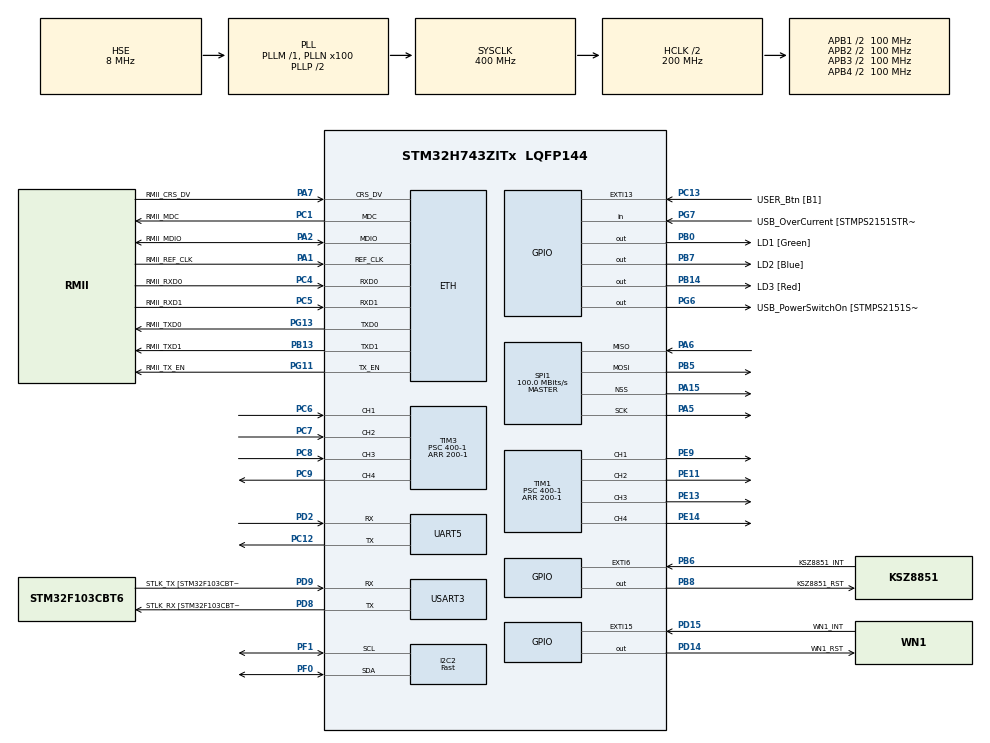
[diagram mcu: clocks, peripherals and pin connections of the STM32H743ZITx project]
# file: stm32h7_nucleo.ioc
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PA11.GPIO_Speed=GPIO_SPEED_FREQ_VERY_HIGH
SH.S_TIM1_CH4.0=TIM1_CH4,Output Compare4 CH4
SPI1.VirtualType=VM_MASTER
LWIP.LWIP_ARP=1
SH.ADCx_INP10.0=ADC1_INP10
PC12.Signal=UART5_TX
PB14.GPIO_Label=LD3 [Red]
PG6.GPIO_Label=USB_PowerSwitchOn [STMPS2151STR_EN]
CORTEX_M7.TypeExtField-Cortex_Memory_Protection_Unit_Region0_Settings=MPU_TEX_LEVEL1
VP_RTC_VS_RTC_Activate.Mode=RTC_Enabled
CORTEX_M7.AccessPermission-Cortex_Memory_Protection_Unit_Region2_Settings=MPU_REGION_FULL_ACCESS
TIM1.Pulse-Output\ Compare3\ CH3=200-1
PB6.GPIO_Label=KSZ8851_INT
PA15\ (JTDI).Signal=SPI1_NSS
PC5.Mode=RMII
PB13.Signal=ETH_TXD1
PG13.Signal=ETH_TXD0
RCC.SYSCLKSource=RCC_SYSCLKSOURCE_PLLCLK
LWIP.NETMASK_ADDRESS=255.255.255.000
USART3.VirtualMode-Asynchronous=VM_ASYNC
PA14\ (JTCK/SWCLK).Signal=DEBUG_JTCK-SWCLK
PA15\ (JTDI).Mode=NSS_Signal_Hard_Output
CORTEX_M7.Enable-Cortex_Memory_Protection_Unit_Region0_Settings=MPU_REGION_ENABLE
SPI1.Direction=SPI_DIRECTION_2LINES
I2C2.I2C_Speed_Mode=I2C_Fast
RCC.APB2TimFreq_Value=216000000
PB6.Signal=GPXTI6
PC7.Signal=S_TIM3_CH2
SPI1.CalculateBaudRate=100.0 MBits/s
PD8.Signal=USART3_TX
PE5.Signal=SPI4_MISO
FREERTOS.configMINIMAL_STACK_SIZE=128
RCC.DIVM3=1
RCC.DIVM2=1
RCC.DIVM1=1
PC2_C.GPIO_Speed=GPIO_SPEED_FREQ_VERY_HIGH
PC4.GPIO_Label=RMII_RXD0
PE9.Signal=S_TIM1_CH1
TIM1.Pulse-Output\ Compare4\ CH4=200-1
SPI1.DataSize=SPI_DATASIZE_8BIT
PB8.PinState=GPIO_PIN_SET
PE2.Signal=SPI4_SCK
PA8.Signal=USB_OTG_FS_SOF
PA14\ (JTCK/SWCLK).Mode=Serial_Wire
SPI1.VirtualNSS=VM_NSSHARD
VP_FREERTOS_VS_CMSIS_V1.Mode=CMSIS_V1
PF1.GPIO_Speed=GPIO_SPEED_FREQ_HIGH
VP_TIM1_VS_ClockSourceINT.Mode=Internal
Mcu.Package=LQFP144
PB9.Signal=SPI2_NSS
NVIC.TimeBase=TIM8_BRK_TIM12_IRQn
PD12.Signal=I2C4_SCL
NVIC.TimeBaseIP=TIM12
PA10.Signal=USB_OTG_FS_ID
VP_RTC_VS_RTC_Calendar.Mode=RTC_Calendar
PB5.GPIO_Speed=GPIO_SPEED_FREQ_VERY_HIGH
PC14-OSC32_IN\ (OSC32_IN).Mode=LSE-External-Oscillator
RCC.APB2CLKDivider=RCC_HCLK_DIV2
RCC.APB4Freq_Value=100000000
RCC.APB1TimFreq_Value=108000000
CORTEX_M7.Enable-Cortex_Memory_Protection_Unit_Region1_Settings=MPU_REGION_ENABLE
TIM1.Period=200-1
PB13.Mode=RMII
PA6.GPIO_Speed=GPIO_SPEED_FREQ_VERY_HIGH
PE6.GPIO_Speed=GPIO_SPEED_FREQ_VERY_HIGH
PH0-OSC_IN\ (PH0).Mode=HSE-External-Clock-Source
PA8.GPIO_Speed=GPIO_SPEED_FREQ_VERY_HIGH
PD15.Signal=GPXTI15
CORTEX_M7.IsBufferable-Cortex_Memory_Protection_Unit_Region0_Settings=MPU_ACCESS_NOT_BUFFERABLE
PC4.Mode=RMII
LWIP.IP_ADDRESS=192.168.025.238
PA5.Mode=Full_Duplex_Master
RCC.DIVQ1=4
FREERTOS.Tasks01=coreTask,3,512,coreTaskFunc,As weak,NULL,Dynamic,NULL,NULL;rosSpinTask,0,256,rosSpinTaskFunc,As weak,NULL,Dynamic,NULL,NULL
LWIP0.BSP.i2caddr=0
PD9.GPIO_Label=STLK_TX [STM32F103CBT6_PA2]
PC13.Signal=GPXTI13
PA9.GPIO_Label=USB_VBUS
CORTEX_M7.IsBufferable-Cortex_Memory_Protection_Unit_Region2_Settings=MPU_ACCESS_BUFFERABLE
PC6.Signal=S_TIM3_CH1
PA11.GPIO_Label=USB_DM
LWIP.LWIP_DHCP=0
PC0.Signal=ADCx_INP10
RCC.APB1CLKDivider=RCC_HCLK_DIV4
PG13.GPIO_Label=RMII_TXD0
RCC.PWR_Regulator_Voltage_Scale=PWR_REGULATOR_VOLTAGE_SCALE1
PF1.Mode=I2C
PB8.GPIO_Label=KSZ8851_RST
PA8.GPIO_Label=USB_SOF [TP1]
RTC.Year=19
LWIP.LWIP_NETIF_LINK_CALLBACK=0
PA9.Signal=USB_OTG_FS_VBUS
RCC.DIVN3=100
RCC.DIVN2=100
RCC.DIVN1=100
PB13.GPIO_Speed=GPIO_SPEED_FREQ_VERY_HIGH
CORTEX_M7.BaseAddress-Cortex_Memory_Protection_Unit_Region0_Settings=0x30040000
RTC.Format=RTC_FORMAT_BIN
TIM1.Channel-Output\ Compare4\ CH4=TIM_CHANNEL_4
PD8.Mode=Asynchronous
PB10.Signal=SPI2_SCK
PB14.Signal=GPIO_Output
RCC.USBCLockSelection=RCC_USBCLKSOURCE_HSI48
PA5.Signal=SPI1_SCK
CORTEX_M7.Enable-Cortex_Memory_Protection_Unit_Region2_Settings=MPU_REGION_ENABLE
PD14.PinState=GPIO_PIN_SET
PC12.Mode=Asynchronous
PA15\ (JTDI).GPIO_Speed=GPIO_SPEED_FREQ_VERY_HIGH
PA7.GPIO_Speed=GPIO_SPEED_FREQ_VERY_HIGH
PA1.Mode=RMII
PE14.Signal=S_TIM1_CH4
RCC.PRESCALERUSB=RCC_USBCLKSOURCE_PLL_DIV1_5
SPI1.Mode=SPI_MODE_MASTER
PG7.GPIO_Label=USB_OverCurrent [STMPS2151STR_FAULT]
PA1.GPIO_Label=RMII_REF_CLK
CORTEX_M7.AccessPermission-Cortex_Memory_Protection_Unit_Region0_Settings=MPU_REGION_FULL_ACCESS
TIM3.Channel-Output\ Compare4\ CH4=TIM_CHANNEL_4
NVIC.ETH_WKUP_IRQn=true\:5\:0\:false\:true\:true\:2\:true\:true\:true
TIM1.Pulse-Output\ Compare2\ CH2=200-1
PB5.Signal=SPI1_MOSI
ETH.MediaInterface=HAL_ETH_RMII_MODE
PG11.Mode=RMII
PA11.Signal=USB_OTG_FS_DM
ProjectManager.HeapSize=0x2000
LWIP.Version=v2.1.2_Cube
TIM1.Pulse-Output\ Compare1\ CH1=200-1
FREERTOS.Timers01=coreTaskTimer,coreTaskEvokeCb,osTimerPeriodic,As weak,NULL,Dynamic,NULL
PD8.GPIO_Speed=GPIO_SPEED_FREQ_HIGH
NVIC.PriorityGroup=NVIC_PRIORITYGROUP_4
PC5.GPIO_Speed=GPIO_SPEED_FREQ_VERY_HIGH
PD2.Signal=UART5_RX
PB0.Signal=GPIO_Output
PC1.Signal=ETH_MDC
PA13\ (JTMS/SWDIO).Signal=DEBUG_JTMS-SWDIO
PC1.Mode=RMII
VP_SYS_VS_tim12.Mode=TIM12
Mcu.Family=STM32H7
LWIP0.BSP.STBoard=false
PA6.Mode=Full_Duplex_Master
RCC.CortexFreq_Value=400000000
FREERTOS.BinarySemaphores01=coreTaskSem,Dynamic,NULL
PG6.Signal=GPIO_Output
PB10.GPIO_Speed=GPIO_SPEED_FREQ_VERY_HIGH
RCC.HPRE=RCC_HCLK_DIV2
PH0-OSC_IN\ (PH0).Signal=RCC_OSC_IN
PC15-OSC32_OUT\ (OSC32_OUT).Mode=LSE-External-Oscillator
RCC.SYSCLKSourceVirtual=RCC_SYSCLKSOURCE_PLLCLK
I2C2.Timing=0x009034B6
PA2.GPIO_Speed=GPIO_SPEED_FREQ_VERY_HIGH
PE2.GPIO_Speed=GPIO_SPEED_FREQ_VERY_HIGH
PD9.GPIO_Speed=GPIO_SPEED_FREQ_HIGH
PD2.GPIO_Speed=GPIO_SPEED_FREQ_HIGH
PB0.GPIO_Label=LD1 [Green]
PC13.GPIO_Label=USER_Btn [B1]
PB13.GPIO_Label=RMII_TXD1
PB15.Signal=SPI2_MOSI
PD9.Mode=Asynchronous
PG11.Signal=ETH_TX_EN
ProjectManager.StackSize=0x4000
PD13.Signal=I2C4_SDA
TIM1.Channel-Output\ Compare2\ CH2=TIM_CHANNEL_2
PA12.Signal=USB_OTG_FS_DP
TIM1.Prescaler=400-1
RCC.HCLKFreq_Value=200000000
TIM3.Period=200-1
PC2_C.Signal=SPI2_MISO
RCC.AHBFreq_Value=216000000
NVIC.ETH_IRQn=true\:5\:0\:false\:true\:true\:1\:true\:true\:true
RCC.HSE_VALUE=8000000
FREERTOS.configUSE_TIMERS=1
CORTEX_M7.Size-Cortex_Memory_Protection_Unit_Region2_Settings=MPU_REGION_SIZE_256B
RCC.PLLMUL=RCC_PLL_MUL9
PG11.GPIO_Speed=GPIO_SPEED_FREQ_VERY_HIGH
PC4.GPIO_Speed=GPIO_SPEED_FREQ_VERY_HIGH
PE13.Signal=S_TIM1_CH3
PE4.GPIO_Speed=GPIO_SPEED_FREQ_VERY_HIGH
TIM3.Prescaler=400-1
PB5.Mode=Full_Duplex_Master
PA10.GPIO_Label=USB_ID
PB7.Signal=GPIO_Output
PG13.Mode=RMII
LWIP.ETHARP_SUPPORT_STATIC_ENTRIES=0
SH.S_TIM3_CH1.0=TIM3_CH1,Xored_Inputs_Hall_Sensor_Interface
LWIP0.BSP.solution=LAN8742
PE4.Signal=SPI4_NSS
FREERTOS.configTIMER_TASK_PRIORITY=6
FREERTOS.configTOTAL_HEAP_SIZE=25600
RCC.APB3Freq_Value=100000000
PB7.GPIO_Label=LD2 [Blue]
LWIP0.BSP.component=LAN8742
PA6.Signal=SPI1_MISO
RCC.D1PPRE=RCC_APB3_DIV2
CORTEX_M7.BaseAddress-Cortex_Memory_Protection_Unit_Region1_Settings=0x30044000
PA2.GPIO_Label=RMII_MDIO
PD15.GPIO_PuPd=GPIO_PULLUP
CORTEX_M7.Size-Cortex_Memory_Protection_Unit_Region1_Settings=MPU_REGION_SIZE_16KB
PB9.GPIO_Speed=GPIO_SPEED_FREQ_VERY_HIGH
SH.ADCx_INP15.0=ADC1_INP15
PG11.GPIO_Label=RMII_TX_EN
PG13.GPIO_Speed=GPIO_SPEED_FREQ_VERY_HIGH
PF0.Signal=I2C2_SDA
PC5.Signal=ETH_RXD1
VP_TIM3_VS_ClockSourceINT.Mode=Internal
PA12.GPIO_Speed=GPIO_SPEED_FREQ_VERY_HIGH
TIM1.Channel-Output\ Compare3\ CH3=TIM_CHANNEL_3
PA3.Signal=ADCx_INP15
RCC.PLLSourceVirtual=RCC_PLLSOURCE_HSE
CORTEX_M7.CPU_ICache=Enabled
PD12.GPIO_Speed=GPIO_SPEED_FREQ_HIGH
PD15.GPIO_Label=WN1_INT
PA7.Mode=RMII
PG7.Signal=GPIO_Input
PA13\ (JTMS/SWDIO).Mode=Serial_Wire
PC8.Signal=S_TIM3_CH3
PC4.Signal=ETH_RXD0
RCC.D2PPRE2=RCC_APB2_DIV2
RCC.D2PPRE1=RCC_APB1_DIV2
PD9.Signal=USART3_RX
VP_RNG_VS_RNG.Mode=RNG_Activate
SH.S_TIM3_CH3.0=TIM3_CH3,Xored_Inputs_Hall_Sensor_Interface
PA12.GPIO_Label=USB_DP
CORTEX_M7.BaseAddress-Cortex_Memory_Protection_Unit_Region2_Settings=0x30040000
PH1-OSC_OUT\ (PH1).Signal=RCC_OSC_OUT
VP_LWIP_VS_Enabled.Mode=Enabled
LWIP.GATEWAY_ADDRESS=192.168.025.253
PD8.GPIO_Label=STLK_RX [STM32F103CBT6_PA3]
PF0.GPIO_Speed=GPIO_SPEED_FREQ_HIGH
PB0.GPIO_Speed=GPIO_SPEED_FREQ_LOW
CORTEX_M7.MPU_Control=MPU_PRIVILEGED_DEFAULT
SH.S_TIM1_CH1.0=TIM1_CH1,Output Compare1 CH1
ProjectManager.TargetToolchain=STM32CubeIDE
PC15-OSC32_OUT\ (OSC32_OUT).Signal=RCC_OSC32_OUT
NVIC.TIM8_BRK_TIM12_IRQn=true\:0\:0\:false\:false\:true\:false\:false\:true
LWIP0.BSP.instance=LAN8742
RCC.USBFreq_Value=48000000
PE11.Signal=S_TIM1_CH2
LWIP0.BSP.api=BSP_COMPONENT_DRIVER
PA1.Signal=ETH_REF_CLK
PD2.Mode=Asynchronous
SH.S_TIM3_CH2.0=TIM3_CH2,Xored_Inputs_Hall_Sensor_Interface
board=NUCLEO-H743ZI
PD13.GPIO_Speed=GPIO_SPEED_FREQ_HIGH
RCC.VCOOutputFreq_Value=432000000
RCC.APB2Freq_Value=100000000
SH.S_TIM1_CH2.0=TIM1_CH2,Output Compare2 CH2
PA1.GPIO_Speed=GPIO_SPEED_FREQ_VERY_HIGH
PB15.GPIO_Speed=GPIO_SPEED_FREQ_VERY_HIGH
RCC.ADCFreq_Value=400000000
PC1.GPIO_Label=RMII_MDC
PD14.GPIO_Label=WN1_RST
PF1.Signal=I2C2_SCL
PE6.Signal=SPI4_MOSI
Mcu.Name=STM32H743ZITx
CORTEX_M7.Size-Cortex_Memory_Protection_Unit_Region0_Settings=MPU_REGION_SIZE_16KB
PA2.Signal=ETH_MDIO
CORTEX_M7.AccessPermission-Cortex_Memory_Protection_Unit_Region1_Settings=MPU_REGION_FULL_ACCESS
CORTEX_M7.IsCacheable-Cortex_Memory_Protection_Unit_Region1_Settings=MPU_ACCESS_CACHEABLE
PD14.Signal=GPIO_Output
RCC.48MHZClocksFreq_Value=24000000
RCC.SYSCLKFreq_VALUE=400000000
PA7.GPIO_Label=RMII_CRS_DV
LWIP.BSP.number=1
PC14-OSC32_IN\ (OSC32_IN).Signal=RCC_OSC32_IN
PC5.GPIO_Label=RMII_RXD1
PF0.Mode=I2C
TIM1.Channel-Output\ Compare1\ CH1=TIM_CHANNEL_1
SH.S_TIM1_CH3.0=TIM1_CH3,Output Compare3 CH3
RCC.HSI_VALUE=64000000
PA5.GPIO_Speed=GPIO_SPEED_FREQ_VERY_HIGH
RCC.PLLQ=9
PH0-OSC_IN\ (PH0).GPIO_Label=MCO
RCC.PLLM=25
RCC.PLLN=432
PE5.GPIO_Speed=GPIO_SPEED_FREQ_VERY_HIGH
PA2.Mode=RMII
PB8.Signal=GPIO_Output
RCC.D3PPRE=RCC_APB4_DIV2
PC9.Signal=S_TIM3_CH4
CORTEX_M7.CPU_DCache=Enabled
LWIP0.BSP.name=Driver_PHY
RCC.APB1Freq_Value=100000000
PC12.GPIO_Speed=GPIO_SPEED_FREQ_HIGH
SH.S_TIM3_CH4.0=TIM3_CH4,Output Compare4 CH4
PA7.Signal=ETH_CRS_DV

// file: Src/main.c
/* USER CODE BEGIN Header */
/**
  ******************************************************************************
  * @file           : main.c
  * @brief          : Main program body
  ******************************************************************************
  * This notice applies to any and all portions of this file
  * that are not between comment pairs USER CODE BEGIN and
  * USER CODE END. Other portions of this file, whether
  * inserted by the user or by software development tools
  * are owned by their respective copyright owners.
  *
  * Copyright (c) 2021 STMicroelectronics International N.V.
  * All rights reserved.
  *
  * Redistribution and use in source and binary forms, with or without
  * modification, are permitted, provided that the following conditions are met:
  *
  * 1. Redistribution of source code must retain the above copyright notice,
  *    this list of conditions and the following disclaimer.
  * 2. Redistributions in binary form must reproduce the above copyright notice,
  *    this list of conditions and the following disclaimer in the documentation
  *    and/or other materials provided with the distribution.
  * 3. Neither the name of STMicroelectronics nor the names of other
  *    contributors to this software may be used to endorse or promote products
  *    derived from this software without specific written permission.
  * 4. This software, including modifications and/or derivative works of this
  *    software, must execute solely and exclusively on microcontroller or
  *    microprocessor devices manufactured by or for STMicroelectronics.
  * 5. Redistribution and use of this software other than as permitted under
  *    this license is void and will automatically terminate your rights under
  *    this license.
  *
  * THIS SOFTWARE IS PROVIDED BY STMICROELECTRONICS AND CONTRIBUTORS "AS IS"
  * AND ANY EXPRESS, IMPLIED OR STATUTORY WARRANTIES, INCLUDING, BUT NOT
  * LIMITED TO, THE IMPLIED WARRANTIES OF MERCHANTABILITY, FITNESS FOR A
  * PARTICULAR PURPOSE AND NON-INFRINGEMENT OF THIRD PARTY INTELLECTUAL PROPERTY
  * RIGHTS ARE DISCLAIMED TO THE FULLEST EXTENT PERMITTED BY LAW. IN NO EVENT
  * SHALL STMICROELECTRONICS OR CONTRIBUTORS BE LIABLE FOR ANY DIRECT, INDIRECT,
  * INCIDENTAL, SPECIAL, EXEMPLARY, OR CONSEQUENTIAL DAMAGES (INCLUDING, BUT NOT
  * LIMITED TO, PROCUREMENT OF SUBSTITUTE GOODS OR SERVICES; LOSS OF USE, DATA,
  * OR PROFITS; OR BUSINESS INTERRUPTION) HOWEVER CAUSED AND ON ANY THEORY OF
  * LIABILITY, WHETHER IN CONTRACT, STRICT LIABILITY, OR TORT (INCLUDING
  * NEGLIGENCE OR OTHERWISE) ARISING IN ANY WAY OUT OF THE USE OF THIS SOFTWARE,
  * EVEN IF ADVISED OF THE POSSIBILITY OF SUCH DAMAGE.
  *
  ******************************************************************************
  */
/* USER CODE END Header */
#include "main.h"
#include "cmsis_os.h"
#include "i2c.h"
#include "lwip.h"
#include "rng.h"
#include "rtc.h"
#include "spi.h"
#include "tim.h"
#include "usart.h"
#include "gpio.h"

/* USER CODE BEGIN Includes */
#include "lwip/udp.h" /* can not find udp API from lwip.h, why */
#include "tcp_echoserver.h"
#include "udp_echoserver.h"
#include "app_ethernet.h"

#include <cstring>
#include <string>
#include <ros.h>
#include <std_msgs/String.h>
#include <std_msgs/Empty.h>
#include <spinal/ServoControlCmd.h>
#include <spinal/Imu.h>

/* USER CODE END Includes */

/* USER CODE BEGIN PV */
uint32_t msTick = 0;
uint32_t msTickPrevious = 0;

bool start_processing_flag_ = false; //to prevent systick_callback starting  beforeinit() processes
ros::NodeHandle nh_;

std_msgs::String test_msg_;
spinal::Imu imu_msg_;
ros::Publisher test_pub_("/imu", &imu_msg_);
ros::Publisher test_pub2_("/test_pub1", &test_msg_);
ros::Publisher test_pub3_("/test_pub2", &test_msg_);

uint32_t servo_msg_cnt = 0;
uint32_t max_cnt_diff = 0;
uint32_t servo_msg_recv_t = 0;
uint32_t servo_msg_echo_t = 0;
uint32_t max_du = 0;
uint32_t min_du = 1e6;

extern osSemaphoreId coreTaskSemHandle;

extern "C"
{
/* USER CODE END PV */

void SystemClock_Config(void);
static void MPU_Config(void);
void MX_FREERTOS_Init(void);
static void MX_NVIC_Init(void);
}

/* USER CODE BEGIN 0 */

void testCallback(const std_msgs::Empty& msg)
{
  test_msg_.data = std::string("sub echo ok").c_str();
  test_pub2_.publish(&test_msg_);
}

void test2Callback(const spinal::ServoControlCmd& msg)
{
  uint32_t cnt = (uint32_t)msg.index[0] + ((uint32_t)msg.index[1] << 8) + ((uint32_t)msg.index[2] << 16) + ((uint32_t)msg.index[3] << 24);

  if( abs((int32_t)servo_msg_cnt - (int32_t)cnt) > 100) // 100 topics
    {
      // reset
      servo_msg_recv_t = 0;
      servo_msg_echo_t = 0;
      servo_msg_cnt = cnt;

      max_du = 0;
      min_du = 1e6;

      max_cnt_diff = 0;
    }

  if(servo_msg_recv_t == 0)
    {
      servo_msg_recv_t = HAL_GetTick();
      servo_msg_echo_t = HAL_GetTick();
    }
  else
    {
      uint32_t du = HAL_GetTick() - servo_msg_recv_t;
      if(max_du < du) max_du = du;
      if(min_du > du) min_du = du;

      uint32_t cnt_diff = cnt - servo_msg_cnt;
      if(max_cnt_diff < cnt_diff) max_cnt_diff = cnt_diff;

      if (HAL_GetTick() - servo_msg_echo_t > 1000) // 1000 ms
        {
          char buffer[50];
          sprintf (buffer, "%d, %d, %d, %d, %d", du, max_du, min_du, cnt_diff, max_cnt_diff);
          nh_.logerror(buffer);
          servo_msg_echo_t = HAL_GetTick();
        }
      servo_msg_recv_t = HAL_GetTick();
      servo_msg_cnt= cnt;
    }
}

extern "C"
{
  // timer callback to evoke coreTask at 1KHz
  void coreTaskEvokeCb(void const * argument)
  {
    osSemaphoreRelease (coreTaskSemHandle);
  }

  void initTaskFunc(void const * argument)
  {
    for(;;)
      {
        osDelay(10000);
      }
  }

  // main subrutine for update enach instance
  void coreTaskFunc(void const * argument)
  {
    MX_LWIP_Init();

    /* ros node */
    ip4_addr_t dst_addr;
    IP4_ADDR(&dst_addr,192,168,25,100);

    nh_.initNode(dst_addr, 12345,12345);

    ros::Subscriber<std_msgs::Empty> test_sub_("/test_sub", &testCallback);
    ros::Subscriber<spinal::ServoControlCmd> test2_sub_("/target_servo_sub", &test2Callback);

    nh_.advertise(test_pub_);
    nh_.advertise(test_pub2_);
    nh_.advertise(test_pub3_);
    nh_.subscribe< ros::Subscriber<std_msgs::Empty> >(test_sub_);
    nh_.subscribe< ros::Subscriber<spinal::ServoControlCmd> >(test2_sub_);

    osSemaphoreWait(coreTaskSemHandle, osWaitForever);

    for(;;)
      {
        osSemaphoreWait(coreTaskSemHandle, osWaitForever);

        imu_msg_.stamp = nh_.now();
        test_pub_.publish(&imu_msg_);
      }
  }

  void rosSpinTaskFunc(void const * argument)
  {
    for(;;)
      {
        /* ros spin means to get data from UART RX ring buffer and to call callback functions  */
        if(nh_.spinOnce() == ros::SPIN_UNAVAILABLE)
          {
            /* if no data in ring buffer, we kindly sleep for 1ms */
            osDelay(1);
          }
      }
  }
}

/* USER CODE END 0 */

int main(void)
{

  /* MPU Configuration--------------------------------------------------------*/
  MPU_Config();

  /* Enable I-Cache---------------------------------------------------------*/
  SCB_EnableICache();

  /* Enable D-Cache---------------------------------------------------------*/
  SCB_EnableDCache();

  /* MCU Configuration--------------------------------------------------------*/

  /* Reset of all peripherals, Initializes the Flash interface and the Systick. */
  HAL_Init();

  /* Configure the system clock */
  SystemClock_Config();

  /* Initialize all configured peripherals */
  MX_GPIO_Init();
  MX_USART3_UART_Init();
  MX_RNG_Init();
  MX_SPI1_Init();
  MX_I2C2_Init();
  MX_TIM1_Init();
  MX_TIM3_Init();
  MX_UART5_Init();
  MX_RTC_Init();

  /* Initialize interrupts */
  MX_NVIC_Init();

  /* Call init function for freertos objects (in freertos.c) */
  MX_FREERTOS_Init();
  /* Start scheduler */
  osKernelStart();

  /* We should never get here as control is now taken by the scheduler */
  /* Infinite loop */
  while (1)
  {

  }
}

void SystemClock_Config(void)
{
  RCC_OscInitTypeDef RCC_OscInitStruct = {0};
  RCC_ClkInitTypeDef RCC_ClkInitStruct = {0};
  RCC_PeriphCLKInitTypeDef PeriphClkInitStruct = {0};

  /** Supply configuration update enable
  */
  HAL_PWREx_ConfigSupply(PWR_LDO_SUPPLY);
  /** Configure the main internal regulator output voltage
  */
  __HAL_PWR_VOLTAGESCALING_CONFIG(PWR_REGULATOR_VOLTAGE_SCALE1);

  while(!__HAL_PWR_GET_FLAG(PWR_FLAG_VOSRDY)) {}
  /** Initializes the RCC Oscillators according to the specified parameters
  * in the RCC_OscInitTypeDef structure.
  */
  RCC_OscInitStruct.OscillatorType = RCC_OSCILLATORTYPE_HSI48|RCC_OSCILLATORTYPE_LSI
                              |RCC_OSCILLATORTYPE_HSE;
  RCC_OscInitStruct.HSEState = RCC_HSE_BYPASS;
  RCC_OscInitStruct.LSIState = RCC_LSI_ON;
  RCC_OscInitStruct.HSI48State = RCC_HSI48_ON;
  RCC_OscInitStruct.PLL.PLLState = RCC_PLL_ON;
  RCC_OscInitStruct.PLL.PLLSource = RCC_PLLSOURCE_HSE;
  RCC_OscInitStruct.PLL.PLLM = 1;
  RCC_OscInitStruct.PLL.PLLN = 100;
  RCC_OscInitStruct.PLL.PLLP = 2;
  RCC_OscInitStruct.PLL.PLLQ = 4;
  RCC_OscInitStruct.PLL.PLLR = 2;
  RCC_OscInitStruct.PLL.PLLRGE = RCC_PLL1VCIRANGE_3;
  RCC_OscInitStruct.PLL.PLLVCOSEL = RCC_PLL1VCOWIDE;
  RCC_OscInitStruct.PLL.PLLFRACN = 0;
  if (HAL_RCC_OscConfig(&RCC_OscInitStruct) != HAL_OK)
  {
    Error_Handler();
  }
  /** Initializes the CPU, AHB and APB buses clocks
  */
  RCC_ClkInitStruct.ClockType = RCC_CLOCKTYPE_HCLK|RCC_CLOCKTYPE_SYSCLK
                              |RCC_CLOCKTYPE_PCLK1|RCC_CLOCKTYPE_PCLK2
                              |RCC_CLOCKTYPE_D3PCLK1|RCC_CLOCKTYPE_D1PCLK1;
  RCC_ClkInitStruct.SYSCLKSource = RCC_SYSCLKSOURCE_PLLCLK;
  RCC_ClkInitStruct.SYSCLKDivider = RCC_SYSCLK_DIV1;
  RCC_ClkInitStruct.AHBCLKDivider = RCC_HCLK_DIV2;
  RCC_ClkInitStruct.APB3CLKDivider = RCC_APB3_DIV2;
  RCC_ClkInitStruct.APB1CLKDivider = RCC_APB1_DIV2;
  RCC_ClkInitStruct.APB2CLKDivider = RCC_APB2_DIV2;
  RCC_ClkInitStruct.APB4CLKDivider = RCC_APB4_DIV2;

  if (HAL_RCC_ClockConfig(&RCC_ClkInitStruct, FLASH_LATENCY_2) != HAL_OK)
  {
    Error_Handler();
  }
  PeriphClkInitStruct.PeriphClockSelection = RCC_PERIPHCLK_RTC|RCC_PERIPHCLK_USART3
                              |RCC_PERIPHCLK_UART5|RCC_PERIPHCLK_RNG
                              |RCC_PERIPHCLK_SPI1|RCC_PERIPHCLK_I2C2;
  PeriphClkInitStruct.Spi123ClockSelection = RCC_SPI123CLKSOURCE_PLL;
  PeriphClkInitStruct.Usart234578ClockSelection = RCC_USART234578CLKSOURCE_D2PCLK1;
  PeriphClkInitStruct.RngClockSelection = RCC_RNGCLKSOURCE_HSI48;
  PeriphClkInitStruct.I2c123ClockSelection = RCC_I2C123CLKSOURCE_D2PCLK1;
  PeriphClkInitStruct.RTCClockSelection = RCC_RTCCLKSOURCE_LSI;
  if (HAL_RCCEx_PeriphCLKConfig(&PeriphClkInitStruct) != HAL_OK)
  {
    Error_Handler();
  }
}

/**
  * @brief NVIC Configuration.
  * @retval None
  */
static void MX_NVIC_Init(void)
{
  /* ETH_IRQn interrupt configuration */
  HAL_NVIC_SetPriority(ETH_IRQn, 5, 0);
  HAL_NVIC_EnableIRQ(ETH_IRQn);
  /* ETH_WKUP_IRQn interrupt configuration */
  HAL_NVIC_SetPriority(ETH_WKUP_IRQn, 5, 0);
  HAL_NVIC_EnableIRQ(ETH_WKUP_IRQn);
}

/* MPU Configuration */

void MPU_Config(void)
{
  MPU_Region_InitTypeDef MPU_InitStruct = {0};

  /* Disables the MPU */
  HAL_MPU_Disable();
  /** Initializes and configures the Region and the memory to be protected
  */
  MPU_InitStruct.Enable = MPU_REGION_ENABLE;
  MPU_InitStruct.Number = MPU_REGION_NUMBER0;
  MPU_InitStruct.BaseAddress = 0x30040000;
  MPU_InitStruct.Size = MPU_REGION_SIZE_16KB;
  MPU_InitStruct.SubRegionDisable = 0x0;
  MPU_InitStruct.TypeExtField = MPU_TEX_LEVEL1;
  MPU_InitStruct.AccessPermission = MPU_REGION_FULL_ACCESS;
  MPU_InitStruct.DisableExec = MPU_INSTRUCTION_ACCESS_ENABLE;
  MPU_InitStruct.IsShareable = MPU_ACCESS_NOT_SHAREABLE;
  MPU_InitStruct.IsCacheable = MPU_ACCESS_NOT_CACHEABLE;
  MPU_InitStruct.IsBufferable = MPU_ACCESS_NOT_BUFFERABLE;

  HAL_MPU_ConfigRegion(&MPU_InitStruct);
  /** Initializes and configures the Region and the memory to be protected
  */
  MPU_InitStruct.Enable = MPU_REGION_ENABLE;
  MPU_InitStruct.Number = MPU_REGION_NUMBER1;
  MPU_InitStruct.BaseAddress = 0x30044000;
  MPU_InitStruct.Size = MPU_REGION_SIZE_16KB;
  MPU_InitStruct.SubRegionDisable = 0x0;
  MPU_InitStruct.TypeExtField = MPU_TEX_LEVEL0;
  MPU_InitStruct.AccessPermission = MPU_REGION_FULL_ACCESS;
  MPU_InitStruct.DisableExec = MPU_INSTRUCTION_ACCESS_ENABLE;
  MPU_InitStruct.IsShareable = MPU_ACCESS_NOT_SHAREABLE;
  MPU_InitStruct.IsCacheable = MPU_ACCESS_CACHEABLE;
  MPU_InitStruct.IsBufferable = MPU_ACCESS_NOT_BUFFERABLE;

  HAL_MPU_ConfigRegion(&MPU_InitStruct);
  /** Initializes and configures the Region and the memory to be protected
  */
  MPU_InitStruct.Enable = MPU_REGION_ENABLE;
  MPU_InitStruct.Number = MPU_REGION_NUMBER2;
  MPU_InitStruct.BaseAddress = 0x30040000;
  MPU_InitStruct.Size = MPU_REGION_SIZE_256B;
  MPU_InitStruct.SubRegionDisable = 0x0;
  MPU_InitStruct.TypeExtField = MPU_TEX_LEVEL0;
  MPU_InitStruct.AccessPermission = MPU_REGION_FULL_ACCESS;
  MPU_InitStruct.DisableExec = MPU_INSTRUCTION_ACCESS_ENABLE;
  MPU_InitStruct.IsShareable = MPU_ACCESS_NOT_SHAREABLE;
  MPU_InitStruct.IsCacheable = MPU_ACCESS_NOT_CACHEABLE;
  MPU_InitStruct.IsBufferable = MPU_ACCESS_BUFFERABLE;

  HAL_MPU_ConfigRegion(&MPU_InitStruct);
  /* Enables the MPU */
  HAL_MPU_Enable(MPU_PRIVILEGED_DEFAULT);

}
void HAL_TIM_PeriodElapsedCallback(TIM_HandleTypeDef *htim)
{
  if (htim->Instance == TIM12) {
    HAL_IncTick();
  }
}

void Error_Handler(void)
{
}

/************************ (C) COPYRIGHT STMicroelectronics *****END OF FILE****/

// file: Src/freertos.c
/* USER CODE BEGIN Header */
/**
  ******************************************************************************
  * File Name          : freertos.c
  * Description        : Code for freertos applications
  ******************************************************************************
  * @attention
  *
  * <h2><center>&copy; Copyright (c) 2021 STMicroelectronics.
  * All rights reserved.</center></h2>
  *
  * This software component is licensed by ST under Ultimate Liberty license
  * SLA0044, the "License"; You may not use this file except in compliance with
  * the License. You may obtain a copy of the License at:
  *                             www.st.com/SLA0044
  *
  ******************************************************************************
  */
/* USER CODE END Header */

#include "FreeRTOS.h"
#include "task.h"
#include "main.h"
#include "cmsis_os.h"

osThreadId coreTaskHandle;
osThreadId rosSpinTaskHandle;
osTimerId coreTaskTimerHandle;
osSemaphoreId coreTaskSemHandle;

void coreTaskFunc(void const * argument);
void rosSpinTaskFunc(void const * argument);
void coreTaskEvokeCb(void const * argument);

extern void MX_LWIP_Init(void);
void MX_FREERTOS_Init(void); /* (MISRA C 2004 rule 8.1) */

/* GetIdleTaskMemory prototype (linked to static allocation support) */
void vApplicationGetIdleTaskMemory( StaticTask_t **ppxIdleTaskTCBBuffer, StackType_t **ppxIdleTaskStackBuffer, uint32_t *pulIdleTaskStackSize );

/* GetTimerTaskMemory prototype (linked to static allocation support) */
void vApplicationGetTimerTaskMemory( StaticTask_t **ppxTimerTaskTCBBuffer, StackType_t **ppxTimerTaskStackBuffer, uint32_t *pulTimerTaskStackSize );

/* USER CODE BEGIN GET_IDLE_TASK_MEMORY */
static StaticTask_t xIdleTaskTCBBuffer;
static StackType_t xIdleStack[configMINIMAL_STACK_SIZE];

void vApplicationGetIdleTaskMemory( StaticTask_t **ppxIdleTaskTCBBuffer, StackType_t **ppxIdleTaskStackBuffer, uint32_t *pulIdleTaskStackSize )
{
  *ppxIdleTaskTCBBuffer = &xIdleTaskTCBBuffer;
  *ppxIdleTaskStackBuffer = &xIdleStack[0];
  *pulIdleTaskStackSize = configMINIMAL_STACK_SIZE;
  /* place for user code */
}
/* USER CODE END GET_IDLE_TASK_MEMORY */

/* USER CODE BEGIN GET_TIMER_TASK_MEMORY */
static StaticTask_t xTimerTaskTCBBuffer;
static StackType_t xTimerStack[configTIMER_TASK_STACK_DEPTH];

void vApplicationGetTimerTaskMemory( StaticTask_t **ppxTimerTaskTCBBuffer, StackType_t **ppxTimerTaskStackBuffer, uint32_t *pulTimerTaskStackSize )
{
  *ppxTimerTaskTCBBuffer = &xTimerTaskTCBBuffer;
  *ppxTimerTaskStackBuffer = &xTimerStack[0];
  *pulTimerTaskStackSize = configTIMER_TASK_STACK_DEPTH;
  /* place for user code */
}
/* USER CODE END GET_TIMER_TASK_MEMORY */

void MX_FREERTOS_Init(void) {

  /* Create the semaphores(s) */
  /* definition and creation of coreTaskSem */
  osSemaphoreDef(coreTaskSem);
  coreTaskSemHandle = osSemaphoreCreate(osSemaphore(coreTaskSem), 1);

  /* Create the timer(s) */
  /* definition and creation of coreTaskTimer */
  osTimerDef(coreTaskTimer, coreTaskEvokeCb);
  coreTaskTimerHandle = osTimerCreate(osTimer(coreTaskTimer), osTimerPeriodic, NULL);

  /* USER CODE BEGIN RTOS_TIMERS */
  /* start timers, add new ones, ... */
  osTimerStart(coreTaskTimerHandle, 1); // 1 ms (1kHz)

  /* USER CODE END RTOS_TIMERS */

  /* Create the thread(s) */
  /* definition and creation of coreTask */
  osThreadDef(coreTask, coreTaskFunc, osPriorityRealtime, 0, 512);
  coreTaskHandle = osThreadCreate(osThread(coreTask), NULL);

  /* definition and creation of rosSpinTask */
  osThreadDef(rosSpinTask, rosSpinTaskFunc, osPriorityNormal, 0, 256);
  rosSpinTaskHandle = osThreadCreate(osThread(rosSpinTask), NULL);

}

__weak void coreTaskFunc(void const * argument)
{
  /* init code for LWIP */
  MX_LWIP_Init();
  for(;;)
  {
    osDelay(1);
  }
}

__weak void rosSpinTaskFunc(void const * argument)
{
  for(;;)
  {
    osDelay(1);
  }
}

/* coreTaskEvokeCb function */
__weak void coreTaskEvokeCb(void const * argument)
{
}

/************************ (C) COPYRIGHT STMicroelectronics *****END OF FILE****/
